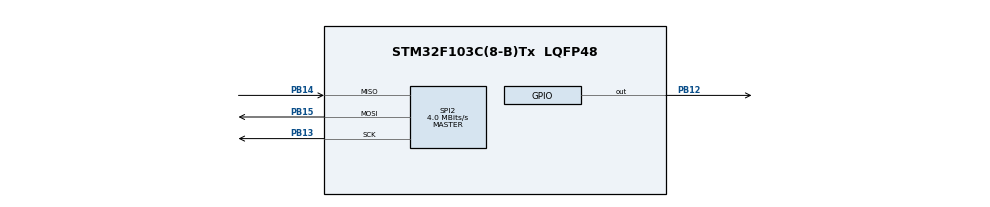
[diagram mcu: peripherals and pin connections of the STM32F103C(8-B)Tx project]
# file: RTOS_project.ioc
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FATFS._MAX_SS=4096
FREERTOS.Tasks01=defaultTask,0,128,StartDefaultTask,Default,NULL,Dynamic,NULL,NULL;Task2,-3,128,Task2_init,Default,NULL,Dynamic,NULL,NULL
FREERTOS.configUSE_NEWLIB_REENTRANT=1
Mcu.Family=STM32F1
Mcu.Name=STM32F103C(8-B)Tx
Mcu.Package=LQFP48
NVIC.PriorityGroup=NVIC_PRIORITYGROUP_4
NVIC.TIM3_IRQn=true\:15\:0\:false\:false\:true\:false\:false\:true\:true
NVIC.TimeBase=TIM3_IRQn
NVIC.TimeBaseIP=TIM3
PA13.Mode=Serial_Wire
PA13.Signal=SYS_JTMS-SWDIO
PA14.Mode=Serial_Wire
PA14.Signal=SYS_JTCK-SWCLK
PB12.Signal=GPIO_Output
PB13.Mode=Full_Duplex_Master
PB13.Signal=SPI2_SCK
PB14.Mode=Full_Duplex_Master
PB14.Signal=SPI2_MISO
PB15.Mode=Full_Duplex_Master
PB15.Signal=SPI2_MOSI
PD0-OSC_IN.Mode=HSE-External-Oscillator
PD0-OSC_IN.Signal=RCC_OSC_IN
PD1-OSC_OUT.Mode=HSE-External-Oscillator
PD1-OSC_OUT.Signal=RCC_OSC_OUT
ProjectManager.HeapSize=0x200
ProjectManager.StackSize=0x400
ProjectManager.TargetToolchain=STM32CubeIDE
RCC.APB1Freq_Value=8000000
RCC.APB2Freq_Value=8000000
SPI2.CalculateBaudRate=4.0 MBits/s
SPI2.Direction=SPI_DIRECTION_2LINES
SPI2.Mode=SPI_MODE_MASTER
SPI2.VirtualType=VM_MASTER
VP_FATFS_VS_Generic.Mode=User_defined
VP_FREERTOS_VS_CMSIS_V1.Mode=CMSIS_V1
VP_SYS_VS_tim3.Mode=TIM3
board=custom

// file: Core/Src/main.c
/* USER CODE BEGIN Header */
/**
  ******************************************************************************
  * @file           : main.c
  * @brief          : Main program body
  ******************************************************************************
  * @attention
  *
  * Copyright (c) 2025 STMicroelectronics.
  * All rights reserved.
  *
  * This software is licensed under terms that can be found in the LICENSE file
  * in the root directory of this software component.
  * If no LICENSE file comes with this software, it is provided AS-IS.
  *
  ******************************************************************************
  */
/* USER CODE END Header */
#include "main.h"
#include "cmsis_os.h"
#include "fatfs.h"

/* USER CODE BEGIN Includes */
#include <stdint.h>
#include <string.h>
#include <stdio.h>
#include <stdlib.h>

#include "uart.h"
#include "adc.h"
#include "config.h"
#include "lcd.h"
#include "matrix_key.h"
#include "pwm.h"
#include "interrupt.h"
#include "flash.h"
/* USER CODE END Includes */

/* USER CODE BEGIN PTD */
#define file_number_location       (*(volatile uint32_t *)(0x0800EC00))
FATFS fs;
FIL fil;
/* USER CODE END PTD */

/* USER CODE BEGIN PD */
char pass[4] = {'1', '2', '3', '4'};
char new_pass[4] = {'1', '2', '3', '4'};
char checkpass[4];
int value[4] = {100, 5, 50, 8};// s1, t1, s2, t2
int new_value[4] = {100, 5, 50, 8};// s1, t1, s2, t2
float T = 25.0;
int count = -1;
int x = 0;
int file_number = 0;
/* USER CODE END PD */

SPI_HandleTypeDef hspi2;

osThreadId defaultTaskHandle;
osThreadId Task2Handle;

void SystemClock_Config(void);
static void MX_GPIO_Init(void);
static void MX_SPI2_Init(void);
void StartDefaultTask(void const * argument);
void Task2_init(void const * argument);

/* USER CODE BEGIN 0 */
char Enter_Number(char *cache){
	int j = 8;
	char new = read_keypad();
	while ((new != '=') && (new != 'C')){
		new = read_keypad();
		if (new >= '0' && new <= '9'){
			LCD_PutChar(new);
			if (j<8) {
				for (int i = 1; i <= 8; i++){
					cache[i-1] = cache[i];
				}
			}
			cache[8] = new;
			j--;
		}
	}
	return new;
}

void Display_Data(void){
	LCD_Gotoxy(0,0);
	char buffer[25];
	int S1 = (int)value[0];
	int T1 = (int)value[1];
	int S2 = (int)value[2];
	int T2 = (int)value[3];
	sprintf(buffer, "%d, %d, %d, %d, %.2f", S1, T1, S2, T2, T);
	LCD_SendCommand(0x0C);
	LCD_Puts(buffer);
}
/* USER CODE END 0 */

int main(void)
{

  /* MCU Configuration--------------------------------------------------------*/

  /* Reset of all peripherals, Initializes the Flash interface and the Systick. */
  HAL_Init();

  /* Configure the system clock */
  SystemClock_Config();

  /* USER CODE BEGIN SysInit */
	uart2_config();
	uart2_gpio();
	adc_config();
	LCD_Init();
	matrix_key_init();
	pwm_init();
  /* USER CODE END SysInit */

  /* Initialize all configured peripherals */
  MX_GPIO_Init();
  MX_SPI2_Init();
  MX_FATFS_Init();
  /* USER CODE BEGIN 2 */
	GPIOA_ODR |= (1 << 5);//select direction of rotation
	GPIOA_ODR &= ~(1 << 4);//select direction of rotation
	TIM2_CCR1 = 1000 * (value[0] / 100);      //PWM
	TIM2_CR1 |= TIM2_CR1_CEN; // start Timer
	TIM4_CR1 |= TIM4_CR1_CEN; // startTimer
	Display_Data();
  //save file_number to flash, whenever reset MCU creating a new file to save data
  if (file_number_location == 0xFF){
	  char buffer[5];
	  sprintf(buffer, "%d", file_number);
	  Flash_WriteString(0x0800EC00, buffer);
  }
  char buffer[5];
  Flash_ReadString(0x0800EC00, buffer, sizeof(buffer));
  file_number = file_number + atoi(buffer) + 1;
  sprintf(buffer, "%d", file_number);
  Flash_WriteString(0x0800EC00, buffer);
  /* USER CODE END 2 */

  /* Create the thread(s) */
  /* definition and creation of defaultTask */
  osThreadDef(defaultTask, StartDefaultTask, osPriorityNormal, 0, 128);
  defaultTaskHandle = osThreadCreate(osThread(defaultTask), NULL);

  /* definition and creation of Task2 */
  osThreadDef(Task2, Task2_init, osPriorityIdle, 0, 128);
  Task2Handle = osThreadCreate(osThread(Task2), NULL);

  /* Start scheduler */
  osKernelStart();

  /* We should never get here as control is now taken by the scheduler */

  /* Infinite loop */
  while (1)
  {

  }
}

void SystemClock_Config(void)
{
  RCC_OscInitTypeDef RCC_OscInitStruct = {0};
  RCC_ClkInitTypeDef RCC_ClkInitStruct = {0};

  /** Initializes the RCC Oscillators according to the specified parameters
  * in the RCC_OscInitTypeDef structure.
  */
  RCC_OscInitStruct.OscillatorType = RCC_OSCILLATORTYPE_HSI;
  RCC_OscInitStruct.HSIState = RCC_HSI_ON;
  RCC_OscInitStruct.HSICalibrationValue = RCC_HSICALIBRATION_DEFAULT;
  RCC_OscInitStruct.PLL.PLLState = RCC_PLL_NONE;
  if (HAL_RCC_OscConfig(&RCC_OscInitStruct) != HAL_OK)
  {
    Error_Handler();
  }

  /** Initializes the CPU, AHB and APB buses clocks
  */
  RCC_ClkInitStruct.ClockType = RCC_CLOCKTYPE_HCLK|RCC_CLOCKTYPE_SYSCLK
                              |RCC_CLOCKTYPE_PCLK1|RCC_CLOCKTYPE_PCLK2;
  RCC_ClkInitStruct.SYSCLKSource = RCC_SYSCLKSOURCE_HSI;
  RCC_ClkInitStruct.AHBCLKDivider = RCC_SYSCLK_DIV1;
  RCC_ClkInitStruct.APB1CLKDivider = RCC_HCLK_DIV1;
  RCC_ClkInitStruct.APB2CLKDivider = RCC_HCLK_DIV1;

  if (HAL_RCC_ClockConfig(&RCC_ClkInitStruct, FLASH_LATENCY_0) != HAL_OK)
  {
    Error_Handler();
  }
}

static void MX_SPI2_Init(void)
{

  /* SPI2 parameter configuration*/
  hspi2.Instance = SPI2;
  hspi2.Init.Mode = SPI_MODE_MASTER;
  hspi2.Init.Direction = SPI_DIRECTION_2LINES;
  hspi2.Init.DataSize = SPI_DATASIZE_8BIT;
  hspi2.Init.CLKPolarity = SPI_POLARITY_LOW;
  hspi2.Init.CLKPhase = SPI_PHASE_1EDGE;
  hspi2.Init.NSS = SPI_NSS_SOFT;
  hspi2.Init.BaudRatePrescaler = SPI_BAUDRATEPRESCALER_2;
  hspi2.Init.FirstBit = SPI_FIRSTBIT_MSB;
  hspi2.Init.TIMode = SPI_TIMODE_DISABLE;
  hspi2.Init.CRCCalculation = SPI_CRCCALCULATION_DISABLE;
  hspi2.Init.CRCPolynomial = 10;
  if (HAL_SPI_Init(&hspi2) != HAL_OK)
  {
    Error_Handler();
  }

}

static void MX_GPIO_Init(void)
{
  GPIO_InitTypeDef GPIO_InitStruct = {0};

  /* GPIO Ports Clock Enable */
  __HAL_RCC_GPIOD_CLK_ENABLE();
  __HAL_RCC_GPIOB_CLK_ENABLE();
  __HAL_RCC_GPIOA_CLK_ENABLE();

  /*Configure GPIO pin Output Level */
  HAL_GPIO_WritePin(GPIOB, GPIO_PIN_12, GPIO_PIN_RESET);

  /*Configure GPIO pin : PB12 */
  GPIO_InitStruct.Pin = GPIO_PIN_12;
  GPIO_InitStruct.Mode = GPIO_MODE_OUTPUT_PP;
  GPIO_InitStruct.Pull = GPIO_NOPULL;
  GPIO_InitStruct.Speed = GPIO_SPEED_FREQ_LOW;
  HAL_GPIO_Init(GPIOB, &GPIO_InitStruct);

}

void StartDefaultTask(void const * argument)
{
  /* USER CODE BEGIN 5 */
  /* Infinite loop */
	//config mode
  for(;;)
  {
	   // enter C and = to go to password
		char data = read_keypad();
		if (data == 'C'){
			TIM1_CNT = 0;
			TIM1_CR1 |=  TIM1_CR1_CEN;
			TIM1_SR &= ~(1 << 0);
			char data = read_keypad();
			while ((!(TIM1_SR & (1 << 0))) && (data == 0x01)){
				data = read_keypad();
			}
			TIM1_CR1 &= ~TIM1_CR1_CEN;
			if (data == '='){
				//enter password
				LCD_SendCommand(0x0E);
				LCD_Clear();
				LCD_Gotoxy(0,0);
				LCD_Puts("Enter Password:");
				bool password = false;
				while (password == false){
					LCD_Gotoxy(0,1);
					int i = 0;
					while (i < 4){
						char entered_pass = read_keypad();
						if (entered_pass != 0x01){
							checkpass[i] = entered_pass;
							LCD_PutChar(entered_pass);
							LCD_Gotoxy(i+1,1);
							i++;
						}
					}
					if ((pass[0]==checkpass[0]) && (pass[1]==checkpass[1])
							&& (pass[2]==checkpass[2]) && (pass[3]==checkpass[3])){
						password = true;
					}
					else {
						LCD_Clear();
						LCD_Puts("incorrect, again:");
					}
				}
				//go to menu
				LCD_Menu(0);
				char new_data;
				int a = 0;
				while (new_data != '='){
					new_data = read_keypad();
					if ((a>=0) && (a<=1) && (new_data == 'X')){
						a++;
						LCD_Menu(a);
					}
					if ((a>=1) && (a<=2) && (new_data == '%')){
						a--;
						LCD_Menu(a);
					}
					if (new_data == '+'){
						if (a == 0){
							//change values of S1 and T1
							char cache[10] = {'0','0','0','0','0','0','0','0','0','\0'};
							char cache1[10] = {'0','0','0','0','0','0','0','0','0','\0'};
							LCD_Clear();
							LCD_Gotoxy(0,0);
							LCD_Puts("+ Enter new value:");
							LCD_Gotoxy(0,1);
							LCD_Puts("S1:");
							LCD_Gotoxy(0,2);
							LCD_Puts("T1:");
							LCD_Gotoxy(3,1);
							char new = read_keypad();

							while (1){
								new = Enter_Number(cache);
								if (new == '='){
									LCD_Gotoxy(3,2);
									new = Enter_Number(cache1);
									if (new == '=') {
										new_value[0] = atoi(cache);
										new_value[1] = atoi(cache1);
										LCD_Menu(a);
										break;
									}
								}

								if (new == 'C') {
									LCD_Menu(a);
									break;
								}
							}
						}
						else if (a == 1){
							//change values of S2, T2
							char cache[10] = {'0','0','0','0','0','0','0','0','0','\0'};
							char cache1[10] = {'0','0','0','0','0','0','0','0','0','\0'};
							LCD_Clear();
							LCD_Gotoxy(0,0);
							LCD_Puts("+ Enter new value:");
							LCD_Gotoxy(0,1);
							LCD_Puts("S2:");
							LCD_Gotoxy(0,2);
							LCD_Puts("T2:");
							LCD_Gotoxy(3,1);
							char new = read_keypad();

							while (1){
								new = Enter_Number(cache);
								if (new == '='){
									LCD_Gotoxy(3,2);
									new = Enter_Number(cache1);
									if (new == '=') {
										new_value[2] = atoi(cache);
										new_value[3] = atoi(cache1);
										LCD_Menu(a);
										break;
									}
								}
								if (new == 'C') {
									LCD_Menu(a);
									break;
								}
							}
						}
						else{
							//change password
							bool format = false;
							LCD_Clear();
							LCD_Gotoxy(0,0);
							LCD_Puts("Enter new password:");
							LCD_Gotoxy(0,1);
							while (format == false){
								char cache[10] = {'0','0','0','0','0','0','0','0','0','\0'};
								char new = read_keypad();
								new = Enter_Number(cache);
								if (new == '='){
									if (cache[4] == '0'){
										new_pass[0] = cache[5];
										new_pass[1] = cache[6];
										new_pass[2] = cache[7];
										new_pass[3] = cache[8];
										LCD_Menu(a);
										format = true;
									}
									else{
										LCD_Clear();
										LCD_Gotoxy(0,0);
										LCD_Puts("Enter password again");
										LCD_Gotoxy(0,1);
										LCD_Puts("(only 4 characters!)");
										LCD_Gotoxy(0,2);
									}
								}
								if (new == 'C') {
									LCD_Menu(a);
									break;
								}

							}
						}
					}
				}
				if (new_data == '=') {
					//save to flash memory
					LCD_Clear();
					LCD_Gotoxy(0,0);
					LCD_Puts("Save the old values");
					LCD_Gotoxy(0,1);
					LCD_Puts("to flash memory:");
					LCD_Gotoxy(0,2);
					LCD_Puts("1: Save");
					LCD_Gotoxy(0,3);
					LCD_Puts("2: Do not save");
					while ((new_data != '1') && (new_data != '2')){
						new_data = read_keypad();
					}
					if (new_data == '1') {
						char buffer[25];
						int S1 = (int)value[0];
						int T1 = (int)value[1];
						int S2 = (int)value[2];
						int T2 = (int)value[3];
						sprintf(buffer, "%d, %d, %d, %d, %.2f", S1, T1, S2, T2, T);
						Flash_WriteString(0x0800FC00 + 25 * x, buffer);
						x ++;
					}
					value[0] = new_value[0];
					value[1] = new_value[1];
					value[2] = new_value[2];
					value[3] = new_value[3];
					pass[0] = new_pass[0];
					pass[1] = new_pass[1];
					pass[2] = new_pass[2];
					pass[3] = new_pass[3];
				}
				LCD_Clear();
			}
		}
		Display_Data();

    osDelay(1);
  }
  /* USER CODE END 5 */
}

void Task2_init(void const * argument)
{
  /* USER CODE BEGIN Task2_init */
  /* Infinite loop */
  for(;;)
  {
		T = calculate_temperature();
		char buffer1[20];
		int S1 = (int)value[0];
		int T1 = (int)value[1];
		int S2 = (int)value[2];
		int T2 = (int)value[3];
		sprintf(buffer1, "%d, %d, %d, %d, ", S1, T1, S2, T2);
		char buffer[10];
		int intPart = (int)T;
		int decimalPart = (int)((T - intPart) * 100);
		sprintf(buffer, "%d.%02d, \r\n", intPart, decimalPart);
		uart_sendstring(buffer1);
		uart_sendstring(buffer);
		//save to sd card
		char filename[20];
		sprintf(filename, "data_%d.txt", file_number);
		f_mount(&fs, "", 0);
		f_open(&fil, filename, FA_OPEN_ALWAYS | FA_WRITE | FA_READ);
		f_lseek(&fil, fil.fsize);
		f_puts(buffer1, &fil);
		f_puts(buffer, &fil);
		f_puts("\n", &fil);
		f_close(&fil);
		count ++;
		if (count == value[1]){
			GPIOA_ODR |= (1 << 4);
			GPIOA_ODR &= ~(1 << 5);
			TIM2_CCR1 = 1000 * (value[2] / 100);
		}
		if (count == (value[1] + value[3])){
			GPIOA_ODR |= (1 << 5);
			GPIOA_ODR &= ~(1 << 4);
			TIM2_CCR1 = 1000 * (value[0] / 100);
			count = 0;
		}
    osDelay(1000);
  }
  /* USER CODE END Task2_init */
}

void HAL_TIM_PeriodElapsedCallback(TIM_HandleTypeDef *htim)
{
  if (htim->Instance == TIM3)
  {
    HAL_IncTick();
  }
}

void Error_Handler(void)
{
  __disable_irq();
  while (1)
  {
  }
}
